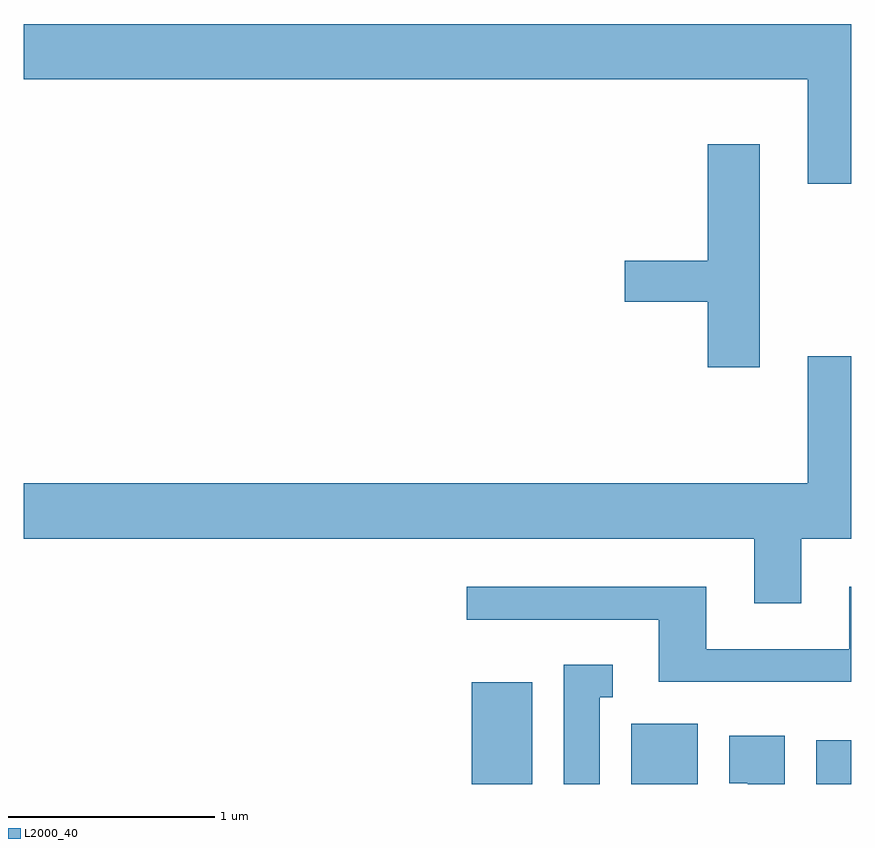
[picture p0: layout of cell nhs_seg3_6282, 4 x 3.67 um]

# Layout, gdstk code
import gdstk
lib = gdstk.Library(unit=1e-6, precision=1e-09)
def R(c, l, rs):  # rectangles x0, y0, x1, y1
    for r in rs: c.add(gdstk.rectangle(r[:2], r[2:], *l))
def P(c, l, *ps):  # polygons
    for p in ps: c.add(gdstk.Polygon(p, *l))
L2000_40 = (2000, 40)

nhs_seg3_6282 = lib.new_cell('nhs_seg3_6282')
R(nhs_seg3_6282, L2000_40, [(371.776,1175.892,372.069,1176.384), (372.546,1175.892,372.869,1176.184), (373.441,1175.892,373.611,1176.104)])
P(nhs_seg3_6282, L2000_40, [(373.611,1179.564),(369.611,1179.564),(369.611,1179.296),(373.401,1179.296),(373.401,1178.791),(373.611,1178.791)],
  [(373.169,1178.984),(372.916,1178.984),(372.916,1178.419),(372.516,1178.419),(372.516,1178.221),(372.916,1178.221),(372.916,1177.906),(373.169,1177.906)],
  [(373.369,1177.076),(373.611,1177.076),(373.611,1177.959),(373.401,1177.959),(373.401,1177.344),(369.611,1177.344),(369.611,1177.076),(373.141,1177.076),(373.141,1176.766),(373.369,1176.766)],
  [(373.611,1176.844),(373.601,1176.844),(373.601,1176.544),(372.909,1176.544),(372.909,1176.844),(371.753,1176.844),(371.753,1176.686),(372.681,1176.686),(372.681,1176.386),(373.611,1176.386)],
  [(372.394,1176.311),(372.458,1176.311),(372.458,1176.469),(372.221,1176.469),(372.221,1175.892),(372.394,1175.892)],
  [(373.289,1176.124),(373.021,1176.124),(373.021,1175.896),(373.111,1175.896),(373.111,1175.892),(373.289,1175.892)])

lib.write_gds('nhs_seg3_6282.gds')
